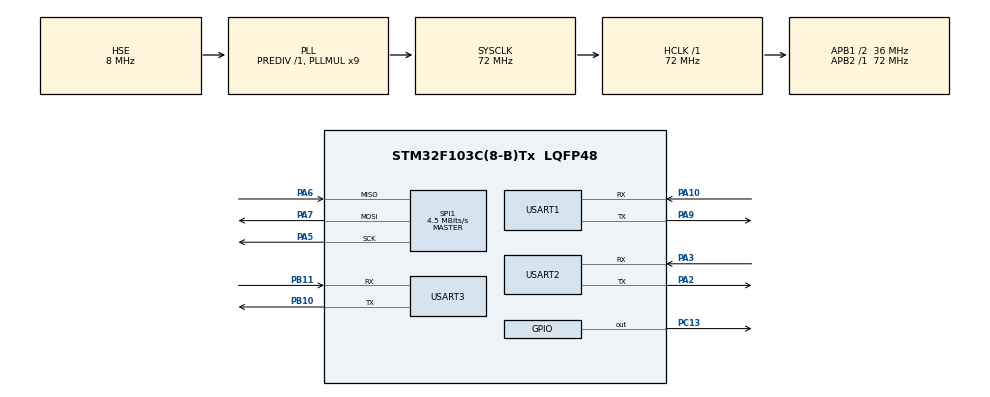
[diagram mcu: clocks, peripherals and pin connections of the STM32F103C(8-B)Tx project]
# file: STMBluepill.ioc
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Mcu.Family=STM32F1
Mcu.Name=STM32F103C(8-B)Tx
Mcu.Package=LQFP48
NVIC.PriorityGroup=NVIC_PRIORITYGROUP_4
NVIC.SPI1_IRQn=true\:0\:0\:false\:false\:true\:true\:true\:true
NVIC.USART1_IRQn=true\:0\:0\:false\:false\:true\:true\:true\:true
NVIC.USART2_IRQn=true\:0\:0\:false\:false\:true\:true\:true\:true
NVIC.USART3_IRQn=true\:0\:0\:false\:false\:true\:true\:true\:true
PA10.Mode=Asynchronous
PA10.Signal=USART1_RX
PA13.Mode=Serial_Wire
PA13.Signal=SYS_JTMS-SWDIO
PA14.Mode=Serial_Wire
PA14.Signal=SYS_JTCK-SWCLK
PA2.Mode=Asynchronous
PA2.Signal=USART2_TX
PA3.Mode=Asynchronous
PA3.Signal=USART2_RX
PA5.Mode=Full_Duplex_Master
PA5.Signal=SPI1_SCK
PA6.Mode=Full_Duplex_Master
PA6.Signal=SPI1_MISO
PA7.Mode=Full_Duplex_Master
PA7.Signal=SPI1_MOSI
PA9.Mode=Asynchronous
PA9.Signal=USART1_TX
PB10.Mode=Asynchronous
PB10.Signal=USART3_TX
PB11.Mode=Asynchronous
PB11.Signal=USART3_RX
PC13-TAMPER-RTC.Signal=GPIO_Output
PD0-OSC_IN.Mode=HSE-External-Oscillator
PD0-OSC_IN.Signal=RCC_OSC_IN
PD1-OSC_OUT.Mode=HSE-External-Oscillator
PD1-OSC_OUT.Signal=RCC_OSC_OUT
ProjectManager.HeapSize=0x200
ProjectManager.StackSize=0x400
ProjectManager.TargetToolchain=STM32CubeIDE
RCC.AHBFreq_Value=72000000
RCC.APB1CLKDivider=RCC_HCLK_DIV2
RCC.APB1Freq_Value=36000000
RCC.APB1TimFreq_Value=72000000
RCC.APB2Freq_Value=72000000
RCC.APB2TimFreq_Value=72000000
RCC.HCLKFreq_Value=72000000
RCC.PLLMUL=RCC_PLL_MUL9
RCC.PLLSourceVirtual=RCC_PLLSOURCE_HSE
RCC.SYSCLKFreq_VALUE=72000000
RCC.SYSCLKSource=RCC_SYSCLKSOURCE_PLLCLK
RCC.USBFreq_Value=72000000
SPI1.BaudRatePrescaler=SPI_BAUDRATEPRESCALER_16
SPI1.CalculateBaudRate=4.5 MBits/s
SPI1.Direction=SPI_DIRECTION_2LINES
SPI1.Mode=SPI_MODE_MASTER
SPI1.VirtualType=VM_MASTER
USART1.VirtualMode=VM_ASYNC
USART2.VirtualMode=VM_ASYNC
USART3.VirtualMode=VM_ASYNC
board=custom

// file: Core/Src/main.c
/* USER CODE BEGIN Header */
/**
  ******************************************************************************
  * @file           : main.c
  * @brief          : Main program body
  ******************************************************************************
  * @attention
  *
  * Copyright (c) 2023 STMicroelectronics.
  * All rights reserved.
  *
  * This software is licensed under terms that can be found in the LICENSE file
  * in the root directory of this software component.
  * If no LICENSE file comes with this software, it is provided AS-IS.
  *
  ******************************************************************************
  */
/* USER CODE END Header */
#include "main.h"

/* USER CODE BEGIN Includes */
#include <string.h>
/* USER CODE END Includes */

SPI_HandleTypeDef hspi1;

UART_HandleTypeDef huart1;
UART_HandleTypeDef huart2;
UART_HandleTypeDef huart3;

void SystemClock_Config(void);
static void MX_GPIO_Init(void);
static void MX_SPI1_Init(void);
static void MX_USART1_UART_Init(void);
static void MX_USART2_UART_Init(void);
static void MX_USART3_UART_Init(void);

/* USER CODE BEGIN 0 */
#define Rxbufor 200
#define SPIdod 4
/* bufory dla kanalów UART*/
uint8_t Received1[Rxbufor];
uint8_t Received2[Rxbufor];
uint8_t Received3[Rxbufor];
/*kopia buforów dla kanałów UART*/
uint8_t Received11[Rxbufor];
uint8_t Received21[Rxbufor];
uint8_t Received31[Rxbufor];
/*oznaczenia pakietu danych*/
uint8_t Received12[SPIdod] = {85,65,82,49};
uint8_t Received22[SPIdod] = {85,65,82,50};
uint8_t Received32[SPIdod] = {85,65,82,51};
/*kontrola wykonania polecenia {przerwanie_IT,przyrównanie do przerwania, iteracja co wysłanie} dla każdego kanału UART*/
int asdUART1[3]={0,0,0};
int asdUART2[3]={0,0,0};
int asdUART3[3]={0,0,0};
int led=0;
/* USER CODE END 0 */

int main(void)
{

  /* MCU Configuration--------------------------------------------------------*/

  /* Reset of all peripherals, Initializes the Flash interface and the Systick. */
  HAL_Init();

  /* USER CODE BEGIN Init */
  /*Opóźnienie uruchomienia aby STM Slave SPI zdążył się uruchomić i bym gotowy na odbiór danych */
  HAL_Delay(2000);

  /* USER CODE END Init */

  /* Configure the system clock */
  SystemClock_Config();

  /* Initialize all configured peripherals */
  MX_GPIO_Init();
  MX_SPI1_Init();
  MX_USART1_UART_Init();
  MX_USART2_UART_Init();
  MX_USART3_UART_Init();
  /* USER CODE BEGIN 2 */
  HAL_UART_Receive_IT(&huart1, Received1, Rxbufor);
  HAL_UART_Receive_IT(&huart2, Received2, Rxbufor);
  HAL_UART_Receive_IT(&huart3, Received3, Rxbufor);

  /* USER CODE END 2 */

  /* Infinite loop */
  while (1)
  {

    /* USER CODE BEGIN 3 */
	  if(asdUART1[0]!=asdUART1[1]){
		  HAL_SPI_Transmit(&hspi1, Received11, Rxbufor,1000);
		  HAL_SPI_Transmit(&hspi1, Received12, SPIdod,1000);
		  asdUART1[1]=asdUART1[0];
		  asdUART1[2]++;
		  led++;
	  }
	  if(asdUART2[0]!=asdUART2[1]){
		  HAL_SPI_Transmit(&hspi1, Received21, Rxbufor,1000);
		  HAL_SPI_Transmit(&hspi1, Received22, SPIdod,1000);
		  asdUART2[1]=asdUART2[0];
		  asdUART2[2]++;
		  led++;
	  }
	  if(asdUART3[0]!=asdUART3[1]){
		  HAL_SPI_Transmit(&hspi1, Received31, Rxbufor,1000);
		  HAL_SPI_Transmit(&hspi1, Received32, SPIdod,1000);
		  asdUART3[1]=asdUART3[0];
		  asdUART3[2]++;
		  led++;
	  }
	  /*sygnalizacja wysłania danych*/
	  if(led<10){
		  HAL_GPIO_WritePin(GPIOC, GPIO_PIN_13, GPIO_PIN_SET);
	  }
	  else{
		  HAL_GPIO_WritePin(GPIOC, GPIO_PIN_13, GPIO_PIN_RESET);
	  }
	  if(led>20){
		  led=0;
	  }
  }
  /* USER CODE END 3 */
}

void SystemClock_Config(void)
{
  RCC_OscInitTypeDef RCC_OscInitStruct = {0};
  RCC_ClkInitTypeDef RCC_ClkInitStruct = {0};

  /** Initializes the RCC Oscillators according to the specified parameters
  * in the RCC_OscInitTypeDef structure.
  */
  RCC_OscInitStruct.OscillatorType = RCC_OSCILLATORTYPE_HSE;
  RCC_OscInitStruct.HSEState = RCC_HSE_ON;
  RCC_OscInitStruct.HSEPredivValue = RCC_HSE_PREDIV_DIV1;
  RCC_OscInitStruct.HSIState = RCC_HSI_ON;
  RCC_OscInitStruct.PLL.PLLState = RCC_PLL_ON;
  RCC_OscInitStruct.PLL.PLLSource = RCC_PLLSOURCE_HSE;
  RCC_OscInitStruct.PLL.PLLMUL = RCC_PLL_MUL9;
  if (HAL_RCC_OscConfig(&RCC_OscInitStruct) != HAL_OK)
  {
    Error_Handler();
  }

  /** Initializes the CPU, AHB and APB buses clocks
  */
  RCC_ClkInitStruct.ClockType = RCC_CLOCKTYPE_HCLK|RCC_CLOCKTYPE_SYSCLK
                              |RCC_CLOCKTYPE_PCLK1|RCC_CLOCKTYPE_PCLK2;
  RCC_ClkInitStruct.SYSCLKSource = RCC_SYSCLKSOURCE_PLLCLK;
  RCC_ClkInitStruct.AHBCLKDivider = RCC_SYSCLK_DIV1;
  RCC_ClkInitStruct.APB1CLKDivider = RCC_HCLK_DIV2;
  RCC_ClkInitStruct.APB2CLKDivider = RCC_HCLK_DIV1;

  if (HAL_RCC_ClockConfig(&RCC_ClkInitStruct, FLASH_LATENCY_2) != HAL_OK)
  {
    Error_Handler();
  }
}

static void MX_SPI1_Init(void)
{

  /* SPI1 parameter configuration*/
  hspi1.Instance = SPI1;
  hspi1.Init.Mode = SPI_MODE_MASTER;
  hspi1.Init.Direction = SPI_DIRECTION_2LINES;
  hspi1.Init.DataSize = SPI_DATASIZE_8BIT;
  hspi1.Init.CLKPolarity = SPI_POLARITY_LOW;
  hspi1.Init.CLKPhase = SPI_PHASE_1EDGE;
  hspi1.Init.NSS = SPI_NSS_SOFT;
  hspi1.Init.BaudRatePrescaler = SPI_BAUDRATEPRESCALER_16;
  hspi1.Init.FirstBit = SPI_FIRSTBIT_MSB;
  hspi1.Init.TIMode = SPI_TIMODE_DISABLE;
  hspi1.Init.CRCCalculation = SPI_CRCCALCULATION_DISABLE;
  hspi1.Init.CRCPolynomial = 10;
  if (HAL_SPI_Init(&hspi1) != HAL_OK)
  {
    Error_Handler();
  }

}

static void MX_USART1_UART_Init(void)
{

  huart1.Instance = USART1;
  huart1.Init.BaudRate = 115200;
  huart1.Init.WordLength = UART_WORDLENGTH_8B;
  huart1.Init.StopBits = UART_STOPBITS_1;
  huart1.Init.Parity = UART_PARITY_NONE;
  huart1.Init.Mode = UART_MODE_TX_RX;
  huart1.Init.HwFlowCtl = UART_HWCONTROL_NONE;
  huart1.Init.OverSampling = UART_OVERSAMPLING_16;
  if (HAL_UART_Init(&huart1) != HAL_OK)
  {
    Error_Handler();
  }

}

static void MX_USART2_UART_Init(void)
{

  huart2.Instance = USART2;
  huart2.Init.BaudRate = 115200;
  huart2.Init.WordLength = UART_WORDLENGTH_8B;
  huart2.Init.StopBits = UART_STOPBITS_1;
  huart2.Init.Parity = UART_PARITY_NONE;
  huart2.Init.Mode = UART_MODE_TX_RX;
  huart2.Init.HwFlowCtl = UART_HWCONTROL_NONE;
  huart2.Init.OverSampling = UART_OVERSAMPLING_16;
  if (HAL_UART_Init(&huart2) != HAL_OK)
  {
    Error_Handler();
  }

}

static void MX_USART3_UART_Init(void)
{

  huart3.Instance = USART3;
  huart3.Init.BaudRate = 115200;
  huart3.Init.WordLength = UART_WORDLENGTH_8B;
  huart3.Init.StopBits = UART_STOPBITS_1;
  huart3.Init.Parity = UART_PARITY_NONE;
  huart3.Init.Mode = UART_MODE_TX_RX;
  huart3.Init.HwFlowCtl = UART_HWCONTROL_NONE;
  huart3.Init.OverSampling = UART_OVERSAMPLING_16;
  if (HAL_UART_Init(&huart3) != HAL_OK)
  {
    Error_Handler();
  }

}

static void MX_GPIO_Init(void)
{
  GPIO_InitTypeDef GPIO_InitStruct = {0};

  /* GPIO Ports Clock Enable */
  __HAL_RCC_GPIOC_CLK_ENABLE();
  __HAL_RCC_GPIOD_CLK_ENABLE();
  __HAL_RCC_GPIOA_CLK_ENABLE();
  __HAL_RCC_GPIOB_CLK_ENABLE();

  /*Configure GPIO pin Output Level */
  HAL_GPIO_WritePin(GPIOC, GPIO_PIN_13, GPIO_PIN_RESET);

  /*Configure GPIO pin : PC13 */
  GPIO_InitStruct.Pin = GPIO_PIN_13;
  GPIO_InitStruct.Mode = GPIO_MODE_OUTPUT_PP;
  GPIO_InitStruct.Pull = GPIO_NOPULL;
  GPIO_InitStruct.Speed = GPIO_SPEED_FREQ_LOW;
  HAL_GPIO_Init(GPIOC, &GPIO_InitStruct);

}

/* USER CODE BEGIN 4 */
void HAL_UART_RxCpltCallback(UART_HandleTypeDef *huart) {
	if(huart->Instance == USART1){
		asdUART1[0]++;
		memcpy(Received11,Received1,Rxbufor);
		HAL_UART_Receive_IT(&huart1, Received1, Rxbufor);
	}
	if(huart->Instance == USART2){
		asdUART2[0]++;
		memcpy(Received21,Received2,Rxbufor);
		HAL_UART_Receive_IT(&huart2, Received2, Rxbufor);
	}
	if(huart->Instance == USART3){
		asdUART3[0]++;
		memcpy(Received31,Received3,Rxbufor);
		HAL_UART_Receive_IT(&huart3, Received3, Rxbufor);
	}
}
/* USER CODE END 4 */

void Error_Handler(void)
{
  __disable_irq();
  while (1)
  {
  }
}
